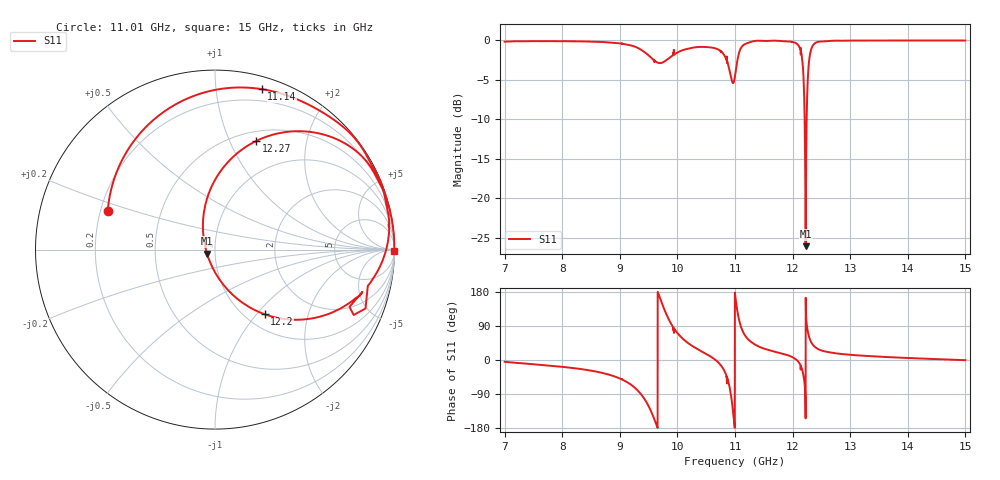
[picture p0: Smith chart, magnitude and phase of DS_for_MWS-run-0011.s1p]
! TOUCHSTONE file generated by CST DESIGN STUDIO
! Date and time: Mon Feb 10 16:41:42 2025
! Project name: C:\Work\MatlabApps\UnitCellType2OptimizationMatlab\CST\unitcell.cst
! Tree item: Tasks\Sweep1\SPara1\S-Parameters
! Header version: 2024
! Port assignment regex: !\s*Touchstone port\s*([0-9]+)\s*=\s*(CST MWS port|CST DES external port|CST DES block port)\s*(.+)\s* \(\"(.*)\"\)(\s*mode\s*([0-9]+))?.*
! Touchstone port assignment:
! Touchstone port 1 = CST DES external port 1 ("")
# GHz S MA R 50
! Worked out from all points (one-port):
!   4001 points, 7 GHz to 15 GHz, reference 50 ohm
!   lowest |S11| = -26.0 dB at 12.23 GHz (marker M1), VSWR 1.11, Z = 45.7 - j2.01 ohm
!   |S11| at or under -10 dB: 12.20913 GHz to 12.24414 GHz (35.01 MHz wide, 0.286 % of centre)
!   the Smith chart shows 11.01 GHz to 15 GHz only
!   S11 on the Smith chart (normalised r, x): 11.01 GHz: 0.23, +0.17; 11.14 GHz: 0.10, +1.33; 12.2 GHz: 1.21, -1.10; 12.27 GHz: 0.61, +1.26; 15 GHz: open
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7  0.9827 -4.7
8  0.9895 -17.9
9  0.9593 -48.8
9.408  0.8542 -98.4
9.522  0.792 -128.6
9.64  0.7293 -172.6
9.818  0.755 117.4
10  0.8387 71.3
10.314  0.9055 31.9
10.712  0.8758 -6.7
10.816  0.8049 -28.8
10.898  0.663 -65.8
10.95  0.5488 -115.0
11  0.5943 175.3
11.012  0.6358 160.0
11.072  0.8394 104.9
11.14  0.9311 73.8
11.39  0.9963 37.1
12  0.979 7.3
12.128  0.892 -10.9
12.2  0.4535 -52.5
12.226  0.04992 -153.9
12.272  0.6461 69.3
12.34  0.9122 42.7
12.43  0.9775 29.9
13  0.9984 13.8
14  0.9995 5.3
15  0.9986 -0.5
